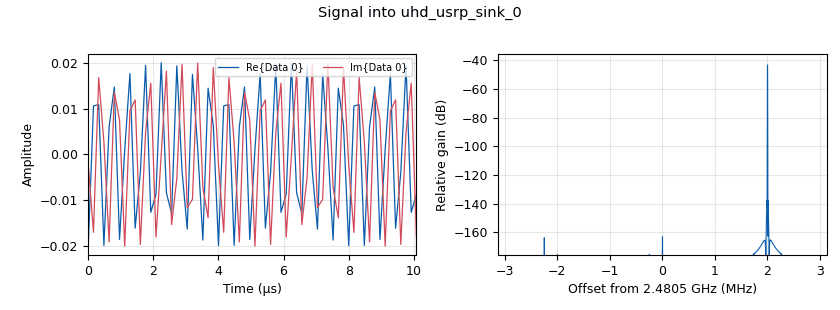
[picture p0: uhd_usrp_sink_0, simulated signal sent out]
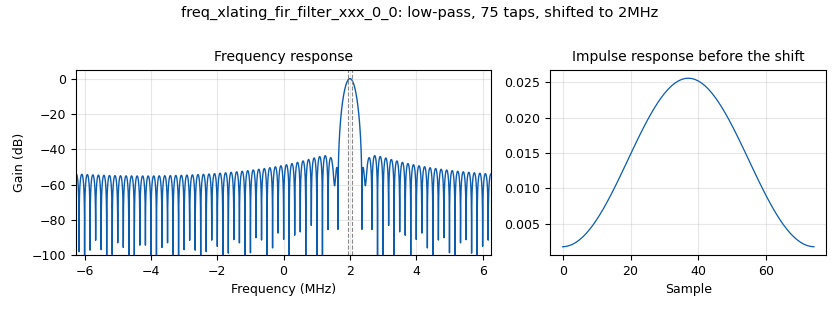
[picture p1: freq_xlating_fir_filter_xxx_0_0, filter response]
<?xml version='1.0' encoding='utf-8'?>
<?grc format='1' created='3.7.12'?>
<flow_graph>
<block>
<key>options</key>
<param><key>id</key><value>usrp_reference_clock_test</value></param>
<param><key>author</key><value>Johannes Demel</value></param>
<param><key>generate_options</key><value>qt_gui</value></param>
<param><key>title</key><value>USRP Reference clock test</value></param>
</block>
<block>
<key>variable_qtgui_range</key>
<param><key>id</key><value>freq_offset</value></param>
<param><key>value</key><value>0.0</value></param>
<param><key>orient</key><value>Qt.Horizontal</value></param>
<param><key>start</key><value>-100.e3</value></param>
<param><key>step</key><value>1</value></param>
<param><key>stop</key><value>100e3</value></param>
</block>
<block>
<key>variable_qtgui_range</key>
<param><key>id</key><value>rfreq</value></param>
<param><key>value</key><value>2.4805e9</value></param>
<param><key>orient</key><value>Qt.Horizontal</value></param>
<param><key>start</key><value>2.46e9</value></param>
<param><key>step</key><value>1</value></param>
<param><key>stop</key><value>2.490e9</value></param>
</block>
<block>
<key>variable_qtgui_range</key>
<param><key>id</key><value>rgain</value></param>
<param><key>value</key><value>40.</value></param>
<param><key>orient</key><value>Qt.Horizontal</value></param>
<param><key>start</key><value>0</value></param>
<param><key>step</key><value>1</value></param>
<param><key>stop</key><value>70</value></param>
</block>
<block>
<key>variable_low_pass_filter_taps</key>
<param><key>id</key><value>rx_lp_taps</value></param>
<param><key>cutoff_freq</key><value>1.4e6</value></param>
<param><key>gain</key><value>1.0</value></param>
<param><key>samp_rate</key><value>samp_rate * rx_oversampling_factor</value></param>
<param><key>width</key><value>400e3</value></param>
<param><key>win</key><value>firdes.WIN_HAMMING</value></param>
</block>
<block>
<key>variable</key>
<param><key>id</key><value>rx_oversampling_factor</value></param>
<param><key>value</key><value>4</value></param>
</block>
<block>
<key>variable</key>
<param><key>id</key><value>samp_rate</value></param>
<param><key>value</key><value>3.125e6</value></param>
</block>
<block>
<key>variable_low_pass_filter_taps</key>
<param><key>id</key><value>sine_taps</value></param>
<param><key>cutoff_freq</key><value>50e3</value></param>
<param><key>gain</key><value>1.0</value></param>
<param><key>samp_rate</key><value>samp_rate * rx_oversampling_factor</value></param>
<param><key>width</key><value>400e3</value></param>
<param><key>win</key><value>firdes.WIN_HAMMING</value></param>
</block>
<block>
<key>variable_qtgui_range</key>
<param><key>id</key><value>tfreq</value></param>
<param><key>value</key><value>2.4805e9</value></param>
<param><key>orient</key><value>Qt.Horizontal</value></param>
<param><key>start</key><value>2.46e9</value></param>
<param><key>step</key><value>1</value></param>
<param><key>stop</key><value>2.490e9</value></param>
</block>
<block>
<key>variable_qtgui_range</key>
<param><key>id</key><value>tgain</value></param>
<param><key>value</key><value>20.</value></param>
<param><key>orient</key><value>Qt.Horizontal</value></param>
<param><key>start</key><value>0</value></param>
<param><key>step</key><value>1</value></param>
<param><key>stop</key><value>70</value></param>
</block>
<block>
<key>variable</key>
<param><key>id</key><value>tx_oversampling_factor</value></param>
<param><key>value</key><value>2</value></param>
</block>
<block>
<key>analog_sig_source_x</key>
<param><key>id</key><value>analog_sig_source_x_0</value></param>
<param><key>amp</key><value>.02</value></param>
<param><key>freq</key><value>2e6</value></param>
<param><key>offset</key><value>0</value></param>
<param><key>type</key><value>complex</value></param>
<param><key>samp_rate</key><value>samp_rate * tx_oversampling_factor</value></param>
<param><key>waveform</key><value>analog.GR_COS_WAVE</value></param>
</block>
<block>
<key>freq_xlating_fir_filter_xxx</key>
<param><key>id</key><value>freq_xlating_fir_filter_xxx_0_0</value></param>
<param><key>center_freq</key><value>2e6 + freq_offset</value></param>
<param><key>decim</key><value>4</value></param>
<param><key>samp_rate</key><value>samp_rate * rx_oversampling_factor</value></param>
<param><key>taps</key><value>sine_taps</value></param>
<param><key>type</key><value>ccc</value></param>
</block>
<block>
<key>qtgui_freq_sink_x</key>
<param><key>id</key><value>qtgui_freq_sink_x_0_0</value></param>
<param><key>bw</key><value>samp_rate * rx_oversampling_factor</value></param>
<param><key>fc</key><value>tfreq</value></param>
<param><key>fftsize</key><value>2048</value></param>
<param><key>name</key><value>"RX Spectrum"</value></param>
<param><key>showports</key><value>True</value></param>
<param><key>type</key><value>complex</value></param>
<param><key>wintype</key><value>firdes.WIN_BLACKMAN_hARRIS</value></param>
</block>
<block>
<key>qtgui_time_sink_x</key>
<param><key>id</key><value>qtgui_time_sink_x_0_1</value></param>
<param><key>autoscale</key><value>True</value></param>
<param><key>grid</key><value>True</value></param>
<param><key>color1</key><value>"blue"</value></param>
<param><key>label1</key><value></value></param>
<param><key>color2</key><value>"red"</value></param>
<param><key>label2</key><value></value></param>
<param><key>name</key><value>"Sine"</value></param>
<param><key>size</key><value>int(samp_rate//2.5)</value></param>
<param><key>srate</key><value>samp_rate</value></param>
<param><key>tr_level</key><value>0.01</value></param>
<param><key>tr_mode</key><value>qtgui.TRIG_MODE_NORM</value></param>
<param><key>type</key><value>complex</value></param>
</block>
<block>
<key>uhd_usrp_sink</key>
<param><key>id</key><value>uhd_usrp_sink_0</value></param>
<param><key>ant0</key><value>TX/RX</value></param>
<param><key>center_freq0</key><value>tfreq</value></param>
<param><key>norm_gain0</key><value>False</value></param>
<param><key>gain0</key><value>tgain</value></param>
<param><key>clock_rate</key><value>0.0</value></param>
<param><key>dev_addr</key><value>"addr=134.102.176.209"</value></param>
<param><key>dev_args</key><value>""</value></param>
<param><key>type</key><value>fc32</value></param>
<param><key>clock_source0</key><value>external</value></param>
<param><key>time_source0</key><value>external</value></param>
<param><key>samp_rate</key><value>samp_rate * tx_oversampling_factor</value></param>
<param><key>hide_cmd_port</key><value>False</value></param>
<param><key>hide_lo_controls</key><value>True</value></param>
<param><key>sync</key><value></value></param>
<param><key>len_tag_name</key><value></value></param>
</block>
<block>
<key>uhd_usrp_source</key>
<param><key>id</key><value>uhd_usrp_source_0</value></param>
<param><key>ant0</key><value></value></param>
<param><key>center_freq0</key><value>rfreq</value></param>
<param><key>dc_offs_enb0</key><value>""</value></param>
<param><key>iq_imbal_enb0</key><value>""</value></param>
<param><key>norm_gain0</key><value>False</value></param>
<param><key>gain0</key><value>rgain</value></param>
<param><key>clock_rate</key><value>0.0</value></param>
<param><key>dev_addr</key><value>"addr=134.102.176.210"</value></param>
<param><key>dev_args</key><value>""</value></param>
<param><key>clock_source0</key><value>external</value></param>
<param><key>time_source0</key><value>external</value></param>
<param><key>type</key><value>fc32</value></param>
<param><key>samp_rate</key><value>samp_rate * rx_oversampling_factor</value></param>
<param><key>hide_cmd_port</key><value>False</value></param>
<param><key>hide_lo_controls</key><value>True</value></param>
<param><key>sync</key><value></value></param>
</block>
<connection><source_block_id>analog_sig_source_x_0</source_block_id><sink_block_id>uhd_usrp_sink_0</sink_block_id><source_key>0</source_key><sink_key>0</sink_key></connection>
<connection><source_block_id>freq_xlating_fir_filter_xxx_0_0</source_block_id><sink_block_id>qtgui_time_sink_x_0_1</sink_block_id><source_key>0</source_key><sink_key>0</sink_key></connection>
<connection><source_block_id>uhd_usrp_source_0</source_block_id><sink_block_id>freq_xlating_fir_filter_xxx_0_0</sink_block_id><source_key>0</source_key><sink_key>0</sink_key></connection>
<connection><source_block_id>uhd_usrp_source_0</source_block_id><sink_block_id>qtgui_freq_sink_x_0_0</sink_block_id><source_key>0</source_key><sink_key>0</sink_key></connection>
</flow_graph>
